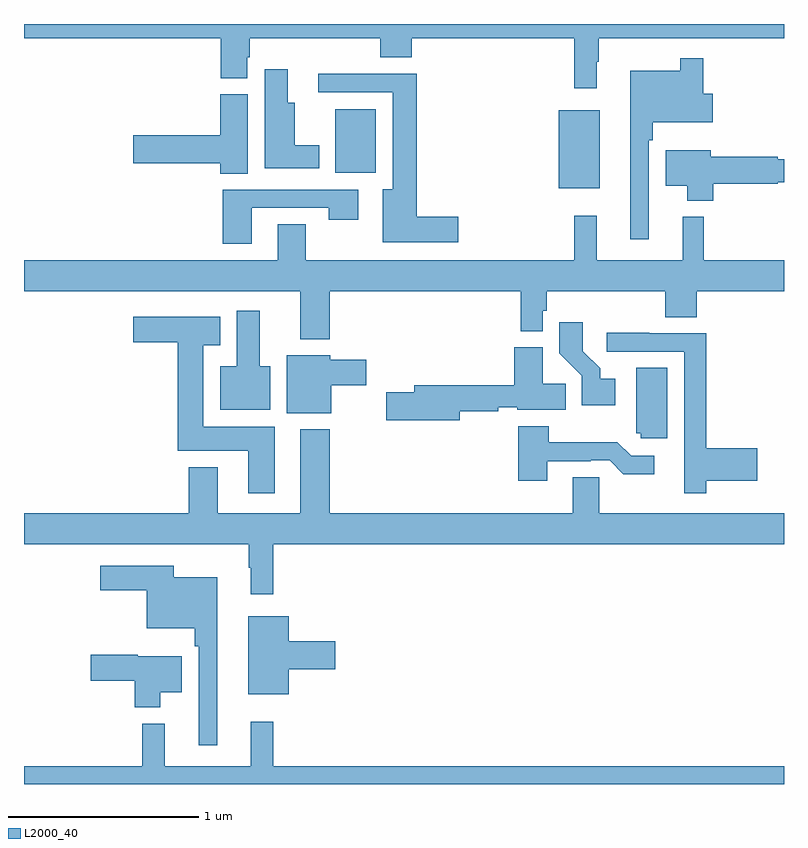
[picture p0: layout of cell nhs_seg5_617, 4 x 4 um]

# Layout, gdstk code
import gdstk
lib = gdstk.Library(unit=1e-6, precision=1e-09)
def R(c, l, rs):  # rectangles x0, y0, x1, y1
    for r in rs: c.add(gdstk.rectangle(r[:2], r[2:], *l))
def P(c, l, *ps):  # polygons
    for p in ps: c.add(gdstk.Polygon(p, *l))
L2000_40 = (2000, 40)

nhs_seg5_617 = lib.new_cell('nhs_seg5_617')
R(nhs_seg5_617, L2000_40, [(151.814,891.935,152.029,892.345), (150.638,892.016,150.85,892.351)])
P(nhs_seg5_617, L2000_40, [(152.014,892.601),(152.026,892.601),(152.026,892.724),(153,892.724),(153,892.799),(149,892.799),(149,892.724),(150.035,892.724),(150.035,892.513),(150.175,892.513),(150.175,892.623),(150.188,892.623),(150.188,892.724),(150.875,892.724),(150.875,892.625),(151.04,892.625),(151.04,892.724),(151.897,892.724),(151.897,892.461),(152.014,892.461)],
  [(152.289,892.187),(152.309,892.187),(152.309,892.283),(152.626,892.283),(152.626,892.431),(152.575,892.431),(152.575,892.618),(152.454,892.618),(152.454,892.552),(152.192,892.552),(152.192,891.666),(152.289,891.666)],
  [(150.553,892.162),(150.424,892.162),(150.424,892.384),(150.388,892.384),(150.388,892.561),(150.266,892.561),(150.266,892.04),(150.553,892.04)],
  [(151.285,891.785),(151.067,891.785),(151.067,892.538),(150.549,892.538),(150.549,892.44),(150.941,892.44),(150.941,891.928),(150.887,891.928),(150.887,891.65),(151.285,891.65)],
  [(150.178,892.428),(150.032,892.428),(150.032,892.214),(149.574,892.214),(149.574,892.067),(150.032,892.067),(150.032,892.012),(150.178,892.012)],
  [(152.627,891.958),(152.966,891.958),(152.966,891.965),(153,891.965),(153,892.087),(152.966,892.087),(152.966,892.1),(152.614,892.1),(152.614,892.135),(152.378,892.135),(152.378,891.947),(152.492,891.947),(152.492,891.869),(152.627,891.869)],
  [(150.199,891.831),(150.604,891.831),(150.604,891.768),(150.76,891.768),(150.76,891.927),(150.047,891.927),(150.047,891.642),(150.199,891.642)],
  [(150.608,891.392),(151.615,891.392),(151.615,891.182),(151.731,891.182),(151.731,891.291),(151.751,891.291),(151.751,891.392),(152.375,891.392),(152.375,891.256),(152.54,891.256),(152.54,891.392),(153,891.392),(153,891.556),(152.578,891.556),(152.578,891.784),(152.468,891.784),(152.468,891.556),(152.015,891.556),(152.015,891.79),(151.897,891.79),(151.897,891.556),(150.483,891.556),(150.483,891.746),(150.335,891.746),(150.335,891.556),(149,891.556),(149,891.392),(150.455,891.392),(150.455,891.14),(150.608,891.14)],
  [(150.295,890.998),(150.241,890.998),(150.241,891.289),(150.119,891.289),(150.119,890.998),(150.032,890.998),(150.032,890.768),(150.295,890.768)],
  [(150.319,890.68),(149.944,890.68),(149.944,891.107),(150.034,891.107),(150.034,891.259),(149.574,891.259),(149.574,891.125),(149.81,891.125),(149.81,890.552),(150.179,890.552),(150.179,890.328),(150.319,890.328)],
  [(152.113,890.932),(152.032,890.932),(152.032,890.987),(151.942,891.077),(151.942,891.229),(151.816,891.229),(151.816,891.066),(151.935,890.947),(151.935,890.792),(152.113,890.792)],
  [(152.591,890.396),(152.86,890.396),(152.86,890.567),(152.591,890.567),(152.591,891.171),(152.291,891.171),(152.291,891.174),(152.067,891.174),(152.067,891.075),(152.475,891.075),(152.475,890.55),(152.474,890.55),(152.474,890.328),(152.591,890.328)],
  [(151.294,890.761),(151.496,890.761),(151.496,890.781),(151.596,890.781),(151.596,890.768),(151.85,890.768),(151.85,890.906),(151.729,890.906),(151.729,891.097),(151.58,891.097),(151.58,890.897),(151.055,890.897),(151.055,890.861),(150.906,890.861),(150.906,890.714),(151.294,890.714)],
  [(150.616,890.897),(150.802,890.897),(150.802,891.031),(150.612,891.031),(150.612,891.055),(150.383,891.055),(150.383,890.75),(150.616,890.75)],
  [(152.386,890.99),(152.222,890.99),(152.222,890.646),(152.247,890.646),(152.247,890.619),(152.386,890.619)],
  [(151.753,890.499),(151.982,890.499),(151.982,890.502),(152.082,890.502),(152.155,890.429),(152.317,890.429),(152.317,890.526),(152.196,890.526),(152.123,890.599),(151.761,890.599),(151.761,890.683),(151.601,890.683),(151.601,890.394),(151.753,890.394)],
  [(150.311,890.06),(153,890.06),(153,890.224),(152.028,890.224),(152.028,890.414),(151.889,890.414),(151.889,890.224),(150.608,890.224),(150.608,890.665),(150.455,890.665),(150.455,890.224),(150.019,890.224),(150.019,890.467),(149.867,890.467),(149.867,890.224),(149,890.224),(149,890.06),(150.183,890.06),(150.183,889.937),(150.194,889.937),(150.194,889.797),(150.311,889.797)],
  [(150.016,889.888),(149.788,889.888),(149.788,889.948),(149.4,889.948),(149.4,889.819),(149.645,889.819),(149.645,889.619),(149.899,889.619),(149.899,889.523),(149.919,889.523),(149.919,889.002),(150.016,889.002)],
  [(150.394,889.403),(150.637,889.403),(150.637,889.55),(150.394,889.55),(150.394,889.681),(150.179,889.681),(150.179,889.271),(150.394,889.271)],
  [(149.716,889.283),(149.83,889.283),(149.83,889.471),(149.598,889.471),(149.598,889.479),(149.352,889.479),(149.352,889.342),(149.582,889.342),(149.582,889.202),(149.716,889.202)],
  [(153,888.892),(150.311,888.892),(150.311,889.126),(150.194,889.126),(150.194,888.892),(149.741,888.892),(149.741,889.117),(149.623,889.117),(149.623,888.892),(149,888.892),(149,888.799),(153,888.799)])

lib.write_gds('nhs_seg5_617.gds')
